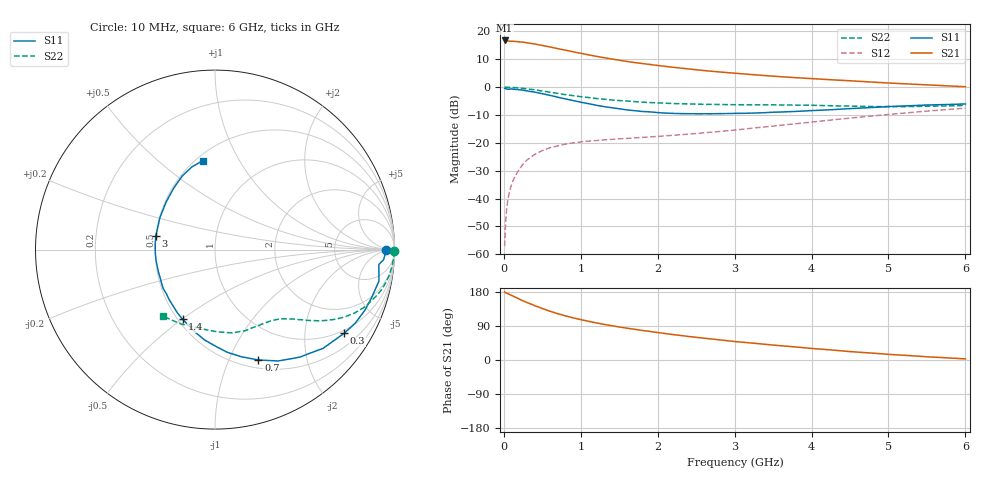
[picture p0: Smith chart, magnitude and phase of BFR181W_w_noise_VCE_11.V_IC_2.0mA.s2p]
! Infineon Technologies  Discrete & RF Semiconductors
! BFR181W
! VCE =  11. V,  IC =  2.0 mA
! Common Emitter S-Parameters:  Jan 2017
# GHz  S  MA  R  50
!  f  S11  S21  S12  S22
! GHz  MAG  ANG  MAG  ANG  MAG  ANG  MAG  ANG
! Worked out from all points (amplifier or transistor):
!   77 points, 10 MHz to 6 GHz, reference 50 ohm
!   highest |S21| = 16.8 dB at 10 MHz (marker M1)
!   |S21| within 3 dB of that: start of sweep to 711.8 MHz
!   unconditionally stable (mu >= 1): 1.911 GHz to 3.986 GHz
!   at 130 MHz: K = 0.09, MSG = 24.7 dB, |S12| = -32.9 dB
!   at 2.2 GHz: K = 1.07, MAG = 10.6 dB, |S12| = -17.3 dB
!   at 6 GHz: K = 0.84, MSG = 3.8 dB, |S12| = -7.5 dB
!   lowest NFmin = 0.84 dB at 450 MHz
!   S11 on the Smith chart (normalised r, x): 10 MHz: 42, -3; 300 MHz: 0.89, -3.15; 700 MHz: 0.59, -1.29; 1.4 GHz: 0.53, -0.50; 3 GHz: 0.50, +0.09; 6 GHz: 0.54, +0.71
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0.01  0.954 -0.2  6.893 179.7  0.0014 80.9  1 -0.6
0.02  0.9411 -3.4  6.854 177.8  0.003 88.1  0.9964 -0.9
0.03  0.9329 -4.0  6.818 177.0  0.0051 86.5  0.9962 -1.5
0.05  0.9168 -5.2  6.751 175.3  0.0092 85.4  0.9962 -2.8
0.08  0.9236 -8.6  6.7 172.4  0.0144 83.5  0.9919 -4.5
0.15  0.9126 -17.1  6.619 165.8  0.0258 78.9  0.9811 -8.5
0.2  0.9009 -22.0  6.504 160.7  0.0334 77.2  0.9676 -11.2
0.3  0.8577 -32.9  6.262 151.7  0.049 70.7  0.934 -16.2
0.4  0.8156 -42.4  5.967 143.4  0.0619 65.4  0.8961 -20.7
0.5  0.7627 -51.8  5.606 135.9  0.0729 61.0  0.8534 -24.5
0.6  0.7136 -60.4  5.267 128.7  0.0819 56.5  0.8119 -27.6
0.7  0.661 -68.5  4.916 122.3  0.0884 53.7  0.7722 -30.2
0.9  0.5756 -83.3  4.316 111.2  0.0998 49.0  0.7042 -34.3
1.1  0.5064 -96.7  3.806 102.2  0.1077 46.3  0.6512 -37.3
1.4  0.4279 -115.0  3.205 90.6  0.1155 44.7  0.5894 -41.1
1.8  0.3658 -137.8  2.659 78.0  0.1258 45.7  0.5383 -45.7
2.1  0.3427 -153.7  2.361 69.8  0.1338 47.5  0.5153 -49.4
3  0.3384 166.6  1.782 48.7  0.1699 53.3  0.4846 -62.3
3.1  0.3393 163.1  1.737 47.0  0.1759 53.8  0.4834 -63.8
4.1  0.3848 133.4  1.398 29.0  0.2442 55.4  0.4696 -80.3
5.1  0.454 112.2  1.169 13.7  0.3327 50.9  0.4471 -104.1
6  0.4997 97.9  1.018 2.9  0.4202 43.2  0.4703 -127.6
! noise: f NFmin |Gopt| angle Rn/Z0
0.45  0.84  0.56  18  0.32
0.9  0.9  0.51  33  0.3
1.9  1.35  0.31  81  0.23
2.4  1.58  0.27  95  0.25
